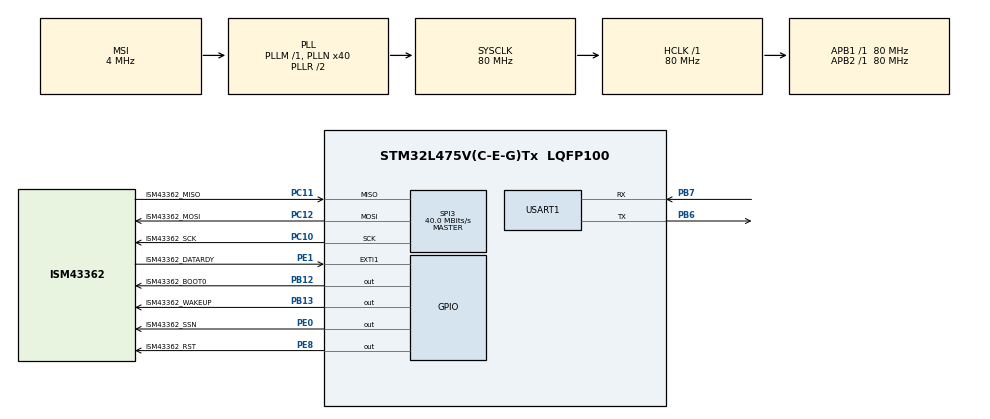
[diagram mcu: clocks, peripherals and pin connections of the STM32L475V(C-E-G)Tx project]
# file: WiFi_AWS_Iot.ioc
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FREERTOS.Tasks01=defaultTask,0,128,StartDefaultTask,Default,NULL,Dynamic,NULL,NULL
Mcu.Family=STM32L4
Mcu.Name=STM32L475V(C-E-G)Tx
Mcu.Package=LQFP100
NVIC.PriorityGroup=NVIC_PRIORITYGROUP_4
NVIC.TIM6_DAC_IRQn=true\:0\:0\:false\:false\:true\:false\:false\:true
NVIC.TimeBase=TIM6_DAC_IRQn
NVIC.TimeBaseIP=TIM6
PA13\ (JTMS-SWDIO).Mode=Serial_Wire
PA13\ (JTMS-SWDIO).Signal=SYS_JTMS-SWDIO
PA14\ (JTCK-SWCLK).Mode=Serial_Wire
PA14\ (JTCK-SWCLK).Signal=SYS_JTCK-SWCLK
PB12.GPIO_Label=ISM43362_BOOT0
PB12.Signal=GPIO_Output
PB13.GPIO_Label=ISM43362_WAKEUP
PB13.Signal=GPIO_Output
PB6.Mode=Asynchronous
PB6.Signal=USART1_TX
PB7.Mode=Asynchronous
PB7.Signal=USART1_RX
PC10.GPIO_Label=ISM43362_SCK
PC10.Mode=Full_Duplex_Master
PC10.Signal=SPI3_SCK
PC11.GPIO_Label=ISM43362_MISO
PC11.Mode=Full_Duplex_Master
PC11.Signal=SPI3_MISO
PC12.GPIO_Label=ISM43362_MOSI
PC12.Mode=Full_Duplex_Master
PC12.Signal=SPI3_MOSI
PC14-OSC32_IN\ (PC14).Mode=LSE-External-Oscillator
PC14-OSC32_IN\ (PC14).Signal=RCC_OSC32_IN
PC15-OSC32_OUT\ (PC15).Mode=LSE-External-Oscillator
PC15-OSC32_OUT\ (PC15).Signal=RCC_OSC32_OUT
PE0.GPIO_Label=ISM43362_SSN
PE0.Signal=GPIO_Output
PE1.GPIO_Label=ISM43362_DATARDY
PE1.Signal=GPXTI1
PE8.GPIO_Label=ISM43362_RST
PE8.Signal=GPIO_Output
ProjectManager.HeapSize=0x200
ProjectManager.StackSize=0x400
ProjectManager.TargetToolchain=STM32CubeIDE
RCC.ADCFreq_Value=32000000
RCC.AHBFreq_Value=80000000
RCC.APB1Freq_Value=80000000
RCC.APB1TimFreq_Value=80000000
RCC.APB2Freq_Value=80000000
RCC.APB2TimFreq_Value=80000000
RCC.CortexFreq_Value=80000000
RCC.HCLKFreq_Value=80000000
RCC.HSE_VALUE=8000000
RCC.HSI_VALUE=16000000
RCC.MSI_VALUE=4000000
RCC.PLLN=40
RCC.PLLSAI1N=16
RCC.SYSCLKFreq_VALUE=80000000
RCC.SYSCLKSource=RCC_SYSCLKSOURCE_PLLCLK
RCC.USBFreq_Value=32000000
RCC.VCOOutputFreq_Value=160000000
SPI3.CalculateBaudRate=40.0 MBits/s
SPI3.Direction=SPI_DIRECTION_2LINES
SPI3.Mode=SPI_MODE_MASTER
SPI3.VirtualType=VM_MASTER
USART1.VirtualMode-Asynchronous=VM_ASYNC
VP_FREERTOS_VS_CMSIS_V1.Mode=CMSIS_V1
VP_RNG_VS_RNG.Mode=RNG_Activate
VP_SYS_VS_tim6.Mode=TIM6
board=custom

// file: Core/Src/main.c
/* USER CODE BEGIN Header */
/**
  ******************************************************************************
  * @file           : main.c
  * @brief          : Main program body
  ******************************************************************************
  * @attention
  *
  * <h2><center>&copy; Copyright (c) 2020 STMicroelectronics.
  * All rights reserved.</center></h2>
  *
  * This software component is licensed by ST under BSD 3-Clause license,
  * the "License"; You may not use this file except in compliance with the
  * License. You may obtain a copy of the License at:
  *                        opensource.org/licenses/BSD-3-Clause
  *
  ******************************************************************************
  */
/* USER CODE END Header */
#include "main.h"
#include "cmsis_os.h"
#include "rng.h"
#include "spi.h"
#include "usart.h"
#include "gpio.h"

/* USER CODE BEGIN Includes */
#include <stdio.h>
/* USER CODE END Includes */

void SystemClock_Config(void);
void MX_FREERTOS_Init(void);

int main(void)
{

  /* MCU Configuration--------------------------------------------------------*/

  /* Reset of all peripherals, Initializes the Flash interface and the Systick. */
  HAL_Init();

  /* Configure the system clock */
  SystemClock_Config();

  /* Initialize all configured peripherals */
  MX_GPIO_Init();
  MX_USART1_UART_Init();
  MX_SPI3_Init();
  MX_RNG_Init();
  /* USER CODE BEGIN 2 */
	printf("Application Start\r\n");
  /* USER CODE END 2 */

  /* Call init function for freertos objects (in freertos.c) */
  MX_FREERTOS_Init();
  /* Start scheduler */
  osKernelStart();

  /* We should never get here as control is now taken by the scheduler */
  /* Infinite loop */
  while (1)
  {

  }
}

void SystemClock_Config(void)
{
  RCC_OscInitTypeDef RCC_OscInitStruct = {0};
  RCC_ClkInitTypeDef RCC_ClkInitStruct = {0};
  RCC_PeriphCLKInitTypeDef PeriphClkInit = {0};

  /** Configure LSE Drive Capability
  */
  HAL_PWR_EnableBkUpAccess();
  __HAL_RCC_LSEDRIVE_CONFIG(RCC_LSEDRIVE_LOW);
  /** Initializes the RCC Oscillators according to the specified parameters
  * in the RCC_OscInitTypeDef structure.
  */
  RCC_OscInitStruct.OscillatorType = RCC_OSCILLATORTYPE_LSE|RCC_OSCILLATORTYPE_MSI;
  RCC_OscInitStruct.LSEState = RCC_LSE_ON;
  RCC_OscInitStruct.MSIState = RCC_MSI_ON;
  RCC_OscInitStruct.MSICalibrationValue = 0;
  RCC_OscInitStruct.MSIClockRange = RCC_MSIRANGE_6;
  RCC_OscInitStruct.PLL.PLLState = RCC_PLL_ON;
  RCC_OscInitStruct.PLL.PLLSource = RCC_PLLSOURCE_MSI;
  RCC_OscInitStruct.PLL.PLLM = 1;
  RCC_OscInitStruct.PLL.PLLN = 40;
  RCC_OscInitStruct.PLL.PLLP = RCC_PLLP_DIV7;
  RCC_OscInitStruct.PLL.PLLQ = RCC_PLLQ_DIV2;
  RCC_OscInitStruct.PLL.PLLR = RCC_PLLR_DIV2;
  if (HAL_RCC_OscConfig(&RCC_OscInitStruct) != HAL_OK)
  {
    Error_Handler();
  }
  /** Initializes the CPU, AHB and APB buses clocks
  */
  RCC_ClkInitStruct.ClockType = RCC_CLOCKTYPE_HCLK|RCC_CLOCKTYPE_SYSCLK
                              |RCC_CLOCKTYPE_PCLK1|RCC_CLOCKTYPE_PCLK2;
  RCC_ClkInitStruct.SYSCLKSource = RCC_SYSCLKSOURCE_PLLCLK;
  RCC_ClkInitStruct.AHBCLKDivider = RCC_SYSCLK_DIV1;
  RCC_ClkInitStruct.APB1CLKDivider = RCC_HCLK_DIV1;
  RCC_ClkInitStruct.APB2CLKDivider = RCC_HCLK_DIV1;

  if (HAL_RCC_ClockConfig(&RCC_ClkInitStruct, FLASH_LATENCY_4) != HAL_OK)
  {
    Error_Handler();
  }
  PeriphClkInit.PeriphClockSelection = RCC_PERIPHCLK_USART1|RCC_PERIPHCLK_RNG;
  PeriphClkInit.Usart1ClockSelection = RCC_USART1CLKSOURCE_PCLK2;
  PeriphClkInit.RngClockSelection = RCC_RNGCLKSOURCE_PLLSAI1;
  PeriphClkInit.PLLSAI1.PLLSAI1Source = RCC_PLLSOURCE_MSI;
  PeriphClkInit.PLLSAI1.PLLSAI1M = 1;
  PeriphClkInit.PLLSAI1.PLLSAI1N = 16;
  PeriphClkInit.PLLSAI1.PLLSAI1P = RCC_PLLP_DIV7;
  PeriphClkInit.PLLSAI1.PLLSAI1Q = RCC_PLLQ_DIV2;
  PeriphClkInit.PLLSAI1.PLLSAI1R = RCC_PLLR_DIV2;
  PeriphClkInit.PLLSAI1.PLLSAI1ClockOut = RCC_PLLSAI1_48M2CLK;
  if (HAL_RCCEx_PeriphCLKConfig(&PeriphClkInit) != HAL_OK)
  {
    Error_Handler();
  }
  /** Configure the main internal regulator output voltage
  */
  if (HAL_PWREx_ControlVoltageScaling(PWR_REGULATOR_VOLTAGE_SCALE1) != HAL_OK)
  {
    Error_Handler();
  }
  /** Enable MSI Auto calibration
  */
  HAL_RCCEx_EnableMSIPLLMode();
}

/* USER CODE BEGIN 4 */
void HAL_GPIO_EXTI_Callback(uint16_t GPIO_Pin)
{
	switch (GPIO_Pin)
	{
		case (ISM43362_DATARDY_Pin):
		{
			SPI_WIFI_ISR();
			break;
		}
		default:
		{
			break;
		}
	}
}
/* USER CODE END 4 */

void HAL_TIM_PeriodElapsedCallback(TIM_HandleTypeDef *htim)
{
  if (htim->Instance == TIM6) {
    HAL_IncTick();
  }
}

void Error_Handler(void)
{
}

/************************ (C) COPYRIGHT STMicroelectronics *****END OF FILE****/

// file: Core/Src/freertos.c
/* USER CODE BEGIN Header */
/**
  ******************************************************************************
  * File Name          : freertos.c
  * Description        : Code for freertos applications
  ******************************************************************************
  * @attention
  *
  * <h2><center>&copy; Copyright (c) 2020 STMicroelectronics.
  * All rights reserved.</center></h2>
  *
  * This software component is licensed by ST under Ultimate Liberty license
  * SLA0044, the "License"; You may not use this file except in compliance with
  * the License. You may obtain a copy of the License at:
  *                             www.st.com/SLA0044
  *
  ******************************************************************************
  */
/* USER CODE END Header */

#include "FreeRTOS.h"
#include "task.h"
#include "main.h"
#include "cmsis_os.h"

/* USER CODE BEGIN Includes */
#include <stdio.h>

#include "iot_wifi.h"
#include "iot_system_init.h"
#include "aws_clientcredential.h"
#include "aws_dev_mode_key_provisioning.h"
#include "aws_demo.h"
/* USER CODE END Includes */

osThreadId defaultTaskHandle;

/* USER CODE BEGIN FunctionPrototypes */
void Network_Init(void);
/* USER CODE END FunctionPrototypes */

void StartDefaultTask(void const * argument);

void MX_FREERTOS_Init(void); /* (MISRA C 2004 rule 8.1) */

/* GetIdleTaskMemory prototype (linked to static allocation support) */
void vApplicationGetIdleTaskMemory( StaticTask_t **ppxIdleTaskTCBBuffer, StackType_t **ppxIdleTaskStackBuffer, uint32_t *pulIdleTaskStackSize );

/* USER CODE BEGIN GET_IDLE_TASK_MEMORY */
static StaticTask_t xIdleTaskTCBBuffer;
static StackType_t xIdleStack[configMINIMAL_STACK_SIZE];

void vApplicationGetIdleTaskMemory( StaticTask_t **ppxIdleTaskTCBBuffer, StackType_t **ppxIdleTaskStackBuffer, uint32_t *pulIdleTaskStackSize )
{
  *ppxIdleTaskTCBBuffer = &xIdleTaskTCBBuffer;
  *ppxIdleTaskStackBuffer = &xIdleStack[0];
  *pulIdleTaskStackSize = configMINIMAL_STACK_SIZE;
  /* place for user code */
}
/* USER CODE END GET_IDLE_TASK_MEMORY */

void MX_FREERTOS_Init(void) {

  /* Create the thread(s) */
  /* definition and creation of defaultTask */
  osThreadDef(defaultTask, StartDefaultTask, osPriorityNormal, 0, 128);
  defaultTaskHandle = osThreadCreate(osThread(defaultTask), NULL);

}

void StartDefaultTask(void const * argument)
{
  /* USER CODE BEGIN StartDefaultTask */
	Network_Init();
  /* Infinite loop */
  for(;;)
  {
    osDelay(1);
  }
  /* USER CODE END StartDefaultTask */
}

/* USER CODE BEGIN Application */

static void prvWifiConnect( void )
{
    WIFINetworkParams_t xNetworkParams;
    WIFIReturnCode_t xWifiStatus;
    uint8_t ucIPAddr[ 4 ];

    /* Setup WiFi parameters to connect to access point. */
    xNetworkParams.pcSSID = clientcredentialWIFI_SSID;
    xNetworkParams.ucSSIDLength = sizeof( clientcredentialWIFI_SSID );
    xNetworkParams.pcPassword = clientcredentialWIFI_PASSWORD;
    xNetworkParams.ucPasswordLength = sizeof( clientcredentialWIFI_PASSWORD );
    xNetworkParams.xSecurity = clientcredentialWIFI_SECURITY;
    xNetworkParams.cChannel = 0;

    /* Try connecting using provided wifi credentials. */
    xWifiStatus = WIFI_ConnectAP( &( xNetworkParams ) );

    if( xWifiStatus == eWiFiSuccess )
    {
        printf("WiFi connected to AP %s.\r\n", xNetworkParams.pcSSID);

        /* Get IP address of the device. */
        WIFI_GetIP( &ucIPAddr[ 0 ] );

        printf("IP Address acquired %d.%d.%d.%d\r\n",
                        ucIPAddr[ 0 ], ucIPAddr[ 1 ], ucIPAddr[ 2 ], ucIPAddr[ 3 ]);
    }
    else
    {
        /* Connection failed configure softAP to allow user to set wifi credentials. */
        printf("WiFi failed to connect to AP %s.\r\n", xNetworkParams.pcSSID);
    }
}

void Network_Init(void)
{
    WIFIReturnCode_t xWifiStatus;

    xWifiStatus = WIFI_On();

    if( xWifiStatus == eWiFiSuccess )
    {
    	printf("WiFi module initialized.\r\n");

    	/* A simple example to demonstrate key and certificate provisioning in microcontroller flash using PKCS#11 interface.
    	 * This should be replaced by production ready key provisioning mechanism.
    	 */
    	vDevModeKeyProvisioning();

    	if(SYSTEM_Init() == pdPASS)
    	{
    		prvWifiConnect();
    		/* Start demos. */
    		DEMO_RUNNER_RunDemos();
    	}

    }
}
/* USER CODE END Application */

/************************ (C) COPYRIGHT STMicroelectronics *****END OF FILE****/
